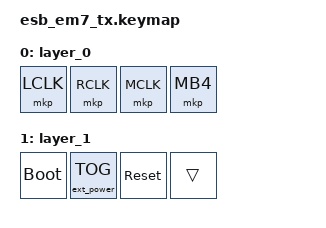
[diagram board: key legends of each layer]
/*
 * EM7 keymap: a mouse, modeled as 4 direct-GPIO positions.
 *
 * Layer 0: the four buttons as mouse buttons.
 *   SW1=LCLK, SW2=RCLK, SW3=MCLK, SW4=MB4
 *   (SW order vs. physical positions is unconfirmed; remap here
 *   or in Studio once checked on the real shell.)
 *
 * Layer 1 (system): hold SW1+SW2 together (combo) to reach it.
 *   SW1=bootloader, SW2=LED (ext-power) toggle, SW3=reset,
 *   SW4=reserved for step 2 (&out OUT_TOG once ESB/BLE land).
 *
 * Ball and scroll ring are plain pass-through listeners for now;
 * rotation / invert / scaling get tuned after the hardware check.
 *
 * SPDX-License-Identifier: MIT
 */

#include <behaviors.dtsi>
#include <dt-bindings/zmk/keys.h>
#include <dt-bindings/zmk/pointing.h>
#include <dt-bindings/zmk/ext_power.h>

/ {
    trackball_listener: trackball_listener {
        compatible = "zmk,input-listener";
        device = <&trackball>;
    };

    wheel_listener: wheel_listener {
        compatible = "zmk,input-listener";
        device = <&ring_qdec>;
    };

    combos {
        compatible = "zmk,combos";

        combo_sys {
            timeout-ms = <50>;
            key-positions = <0 1>;
            bindings = <&mo 1>;
        };
    };

    keymap {
        compatible = "zmk,keymap";

        layer_0 {
            bindings = <
                &mkp LCLK  &mkp RCLK  &mkp MCLK  &mkp MB4
            >;
        };

        layer_1 {
            bindings = <
                &bootloader  &ext_power EP_TOG  &sys_reset  &trans
            >;
        };
    };
};
